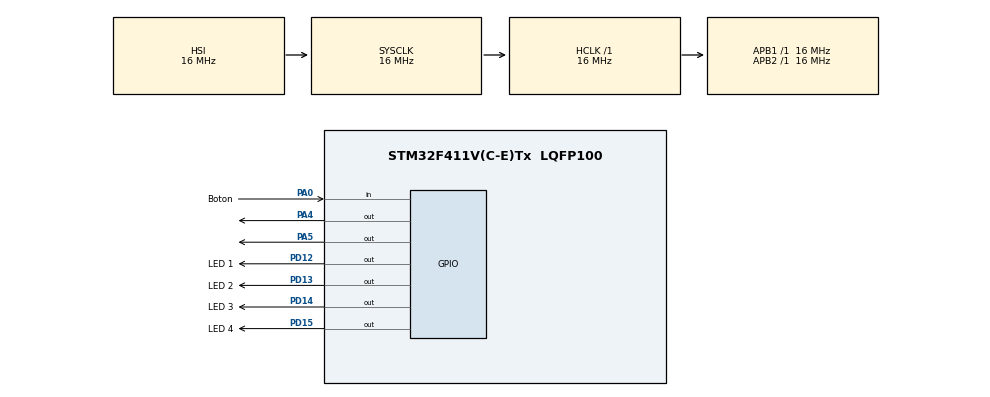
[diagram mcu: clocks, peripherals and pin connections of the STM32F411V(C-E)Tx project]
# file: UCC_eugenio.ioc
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Mcu.Family=STM32F4
Mcu.Name=STM32F411V(C-E)Tx
Mcu.Package=LQFP100
NVIC.PriorityGroup=NVIC_PRIORITYGROUP_4
PA0-WKUP.GPIO_Label=Boton
PA0-WKUP.Signal=GPIO_Input
PA4.Signal=GPIO_Output
PA5.Signal=GPIO_Output
PD12.GPIO_Label=LED 1
PD12.Signal=GPIO_Output
PD13.GPIO_Label=LED 2
PD13.Signal=GPIO_Output
PD14.GPIO_Label=LED 3
PD14.Signal=GPIO_Output
PD15.GPIO_Label=LED 4
PD15.Signal=GPIO_Output
ProjectManager.HeapSize=0x200
ProjectManager.StackSize=0x400
ProjectManager.TargetToolchain=STM32CubeIDE
RCC.AHBFreq_Value=16000000
RCC.APB1Freq_Value=16000000
RCC.APB2Freq_Value=16000000
RCC.CortexFreq_Value=16000000
RCC.HSE_VALUE=25000000
RCC.HSI_VALUE=16000000
RCC.LSE_VALUE=32768
RCC.SYSCLKFreq_VALUE=16000000
RCC.VCOOutputFreq_Value=192000000
board=custom

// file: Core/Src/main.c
/* USER CODE BEGIN Header */
/**
  ******************************************************************************
  * @file           : main.c
  * @brief          : Main program body
  ******************************************************************************
  * @attention
  *
  * Copyright (c) 2023 STMicroelectronics.
  * All rights reserved.
  *
  * This software is licensed under terms that can be found in the LICENSE file
  * in the root directory of this software component.
  * If no LICENSE file comes with this software, it is provided AS-IS.
  *
  ******************************************************************************
  */
/* USER CODE END Header */
#include "main.h"

void SystemClock_Config(void);
static void MX_GPIO_Init(void);

/* USER CODE BEGIN 0 */
void Init_OnBoard_LEDs(void);
void Delay_ms(volatile int time_ms);
/* USER CODE END 0 */

int main(void)
{

  /* MCU Configuration--------------------------------------------------------*/

  /* Reset of all peripherals, Initializes the Flash interface and the Systick. */
  HAL_Init();

  /* Configure the system clock */
  SystemClock_Config();

  /* Initialize all configured peripherals */
  MX_GPIO_Init();

  /* Infinite loop */
  while (1)
  {

    /* USER CODE BEGIN 3 */
	  if (HAL_GPIO_ReadPin(GPIOA, Boton_Pin))
	  {
		  HAL_GPIO_WritePin(GPIOD,LED_1_Pin|LED_2_Pin|LED_3_Pin|LED_4_Pin,GPIO_PIN_SET);

	  }
	  else
	  {
		  HAL_GPIO_WritePin(GPIOD,LED_1_Pin|LED_2_Pin|LED_3_Pin|LED_4_Pin,GPIO_PIN_RESET);
	  }

  }
  /* USER CODE END 3 */
}

void SystemClock_Config(void)
{
  RCC_OscInitTypeDef RCC_OscInitStruct = {0};
  RCC_ClkInitTypeDef RCC_ClkInitStruct = {0};

  /** Configure the main internal regulator output voltage
  */
  __HAL_RCC_PWR_CLK_ENABLE();
  __HAL_PWR_VOLTAGESCALING_CONFIG(PWR_REGULATOR_VOLTAGE_SCALE1);

  /** Initializes the RCC Oscillators according to the specified parameters
  * in the RCC_OscInitTypeDef structure.
  */
  RCC_OscInitStruct.OscillatorType = RCC_OSCILLATORTYPE_HSI;
  RCC_OscInitStruct.HSIState = RCC_HSI_ON;
  RCC_OscInitStruct.HSICalibrationValue = RCC_HSICALIBRATION_DEFAULT;
  RCC_OscInitStruct.PLL.PLLState = RCC_PLL_NONE;
  if (HAL_RCC_OscConfig(&RCC_OscInitStruct) != HAL_OK)
  {
    Error_Handler();
  }

  /** Initializes the CPU, AHB and APB buses clocks
  */
  RCC_ClkInitStruct.ClockType = RCC_CLOCKTYPE_HCLK|RCC_CLOCKTYPE_SYSCLK
                              |RCC_CLOCKTYPE_PCLK1|RCC_CLOCKTYPE_PCLK2;
  RCC_ClkInitStruct.SYSCLKSource = RCC_SYSCLKSOURCE_HSI;
  RCC_ClkInitStruct.AHBCLKDivider = RCC_SYSCLK_DIV1;
  RCC_ClkInitStruct.APB1CLKDivider = RCC_HCLK_DIV1;
  RCC_ClkInitStruct.APB2CLKDivider = RCC_HCLK_DIV1;

  if (HAL_RCC_ClockConfig(&RCC_ClkInitStruct, FLASH_LATENCY_0) != HAL_OK)
  {
    Error_Handler();
  }
}

static void MX_GPIO_Init(void)
{
  GPIO_InitTypeDef GPIO_InitStruct = {0};

  /* GPIO Ports Clock Enable */
  __HAL_RCC_GPIOA_CLK_ENABLE();
  __HAL_RCC_GPIOD_CLK_ENABLE();

  /*Configure GPIO pin Output Level */
  HAL_GPIO_WritePin(GPIOA, GPIO_PIN_4|GPIO_PIN_5, GPIO_PIN_RESET);

  /*Configure GPIO pin Output Level */
  HAL_GPIO_WritePin(GPIOD, LED_1_Pin|LED_2_Pin|LED_3_Pin|LED_4_Pin, GPIO_PIN_RESET);

  /*Configure GPIO pin : Boton_Pin */
  GPIO_InitStruct.Pin = Boton_Pin;
  GPIO_InitStruct.Mode = GPIO_MODE_INPUT;
  GPIO_InitStruct.Pull = GPIO_NOPULL;
  HAL_GPIO_Init(Boton_GPIO_Port, &GPIO_InitStruct);

  /*Configure GPIO pins : PA4 PA5 */
  GPIO_InitStruct.Pin = GPIO_PIN_4|GPIO_PIN_5;
  GPIO_InitStruct.Mode = GPIO_MODE_OUTPUT_PP;
  GPIO_InitStruct.Pull = GPIO_NOPULL;
  GPIO_InitStruct.Speed = GPIO_SPEED_FREQ_LOW;
  HAL_GPIO_Init(GPIOA, &GPIO_InitStruct);

  /*Configure GPIO pins : LED_1_Pin LED_2_Pin LED_3_Pin LED_4_Pin */
  GPIO_InitStruct.Pin = LED_1_Pin|LED_2_Pin|LED_3_Pin|LED_4_Pin;
  GPIO_InitStruct.Mode = GPIO_MODE_OUTPUT_PP;
  GPIO_InitStruct.Pull = GPIO_NOPULL;
  GPIO_InitStruct.Speed = GPIO_SPEED_FREQ_LOW;
  HAL_GPIO_Init(GPIOD, &GPIO_InitStruct);

}

/* USER CODE BEGIN 4 */
void setup()
{
  Player.begin( SAMPLINGFREQUENCY );

  float   frequency = 440;
  float   amplitude = 100;
  // calculate buffer values for test tone
  for ( int n = 0; n < WAVEBUFFERLENGTH; n++ ) wave_i16[n] = ( sin( 2 * PI * frequency / SAMPLINGFREQUENCY * n )) * 0x7FFF;
}

void Delay_ms(volatile int time_ms)
{
	      int j;
        for(j = 0; j < time_ms*4000; j++)
            {}  /* excute NOP for 1ms */
}
/* USER CODE END 4 */

void Error_Handler(void)
{
  __disable_irq();
  while (1)
  {
  }
}
